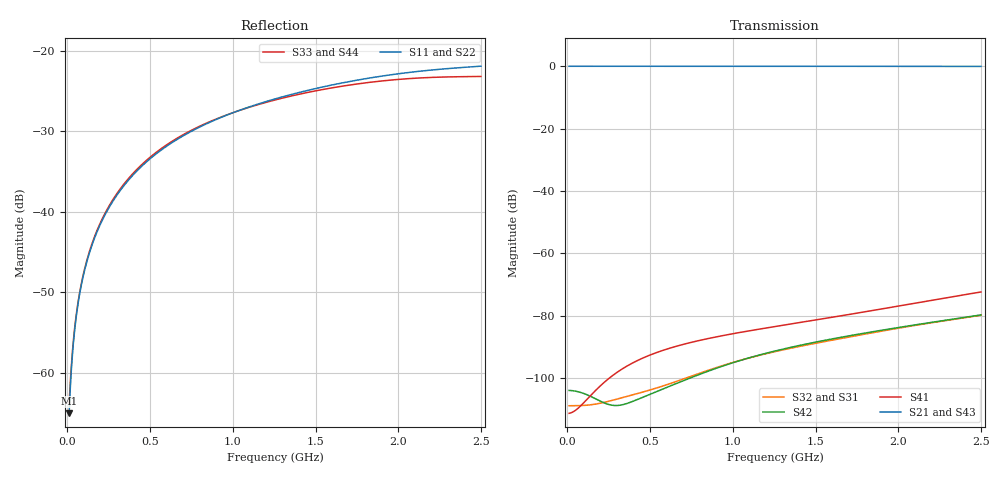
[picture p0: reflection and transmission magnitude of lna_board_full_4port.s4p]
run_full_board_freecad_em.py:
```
#!/usr/bin/env python3
# -*- coding: utf-8 -*-
"""
run_full_board_freecad_em.py: Full-wave 3D FDTD electromagnetic simulation of
the 34 mm x 29 mm FM LNA board using FreeCAD-Microwave Workbench solver engine.

Outputs:
  - lna_board_full_4port.s4p Touchstone file saved to freecad/, qucs-sim/, and openems/.
"""

import sys, os, time, shutil, tempfile
import numpy as np

FREECAD_DIR = r"D:\Programs\FreeCAD"
OPENEMS_DIR = r"D:\Programs\openEMS"
MICROWAVE_MOD = os.path.join(FREECAD_DIR, "Mod", "Microwave")

os.environ["MICROWAVE_OPENEMS_PYTHON"] = os.path.join(FREECAD_DIR, "bin", "python.exe")
os.environ["OPENEMS_INSTALL_PATH"] = OPENEMS_DIR

for p in [FREECAD_DIR, os.path.join(FREECAD_DIR, "bin"), MICROWAVE_MOD]:
    if p not in sys.path:
        sys.path.insert(0, p)

if hasattr(os, "add_dll_directory") and os.path.isdir(OPENEMS_DIR):
    try:
        os.add_dll_directory(OPENEMS_DIR)
    except Exception:
        pass

from Microwave.Solvers.openems import preflight, read, run, write
from Microwave.Solvers.openems.materials import VACUUM_PERMITTIVITY
from Microwave.Solvers.openems.mesh import MeshParams
from Microwave.Solvers.openems.model import (
    Frequency,
    Material,
    Port,
    Problem,
    Solid,
    Termination,
)
import skrf as rf

print("=" * 70)
print("  98 MHz FM LNA - Full-Board 4-Port EM Simulation via FreeCAD-Microwave")
print("=" * 70)

t_start = time.time()

# Enclosure-matched board dimensions (mm)
length = 34.0
sub_width = 29.0
height = 1.6
w_trace = 1.5
gap = 0.35
y_rf = -2.5  # Y = 17.00 mm on PCB (offset by -2.5 mm from cavity center)
via_y = 2.5
gnd_edge = w_trace / 2.0 + gap  # 1.10 mm
half_l = length / 2.0  # 17.0 mm
half_w = sub_width / 2.0  # 14.5 mm

freq_min = 10e6
freq_max = 2500e6
f_centre = (freq_min + freq_max) / 2.0
kappa = 2.0 * np.pi * 98e6 * VACUUM_PERMITTIVITY * 4.5 * 0.02

materials = (
    Material(name="FR4", kind="lossy_dielectric", epsilon=4.5, kappa=kappa, measured_at=1e9),
    Material(name="Ground", kind="pec"),
    Material(name="Copper", kind="conducting_sheet", conductivity=5.8e7, thickness=0.035),
)

solids = [
    # FR-4 Substrate
    Solid(material="FR4", lower=(-half_l, -half_w, 0.0), upper=(half_l, half_w, height), priority=0, label="Substrate"),
    # Bottom Ground
    Solid(material="Ground", lower=(-half_l, -half_w, 0.0), upper=(half_l, half_w, 0.0), priority=1, label="BottomGround"),
    # Top Coplanar Grounds North & South
    Solid(material="Ground", lower=(-half_l, y_rf + gnd_edge, height), upper=(half_l, half_w, height), priority=2, label="TopGroundNorth"),
    Solid(material="Ground", lower=(-half_l, -half_w, height), upper=(half_l, y_rf - gnd_edge, height), priority=2, label="TopGroundSouth"),
    # Ground Stitching Via Fences
    Solid(material="Ground", lower=(-half_l, y_rf + via_y - 0.3, 0.0), upper=(half_l, y_rf + via_y + 0.3, height), priority=2, label="ViaFenceNorth"),
    Solid(material="Ground", lower=(-half_l, y_rf - via_y - 0.3, 0.0), upper=(half_l, y_rf - via_y + 0.3, height), priority=2, label="ViaFenceSouth"),
    # Central Active Component Area (X = -8.5 to +6.0 mm, open on top copper layer for Q1, L1-L4, C1-C12)
    # Input RF Trace: SMA In (-17.0) to Input Match Pad (-8.5) (Length = 8.5 mm)
    Solid(material="Copper", lower=(-half_l, y_rf - w_trace / 2.0, height), upper=(-8.5, y_rf + w_trace / 2.0, height), priority=2, label="InputTrace"),
    # Output RF Trace: Output Match Pad (+6.0) to SMA Out (+17.0) (Length = 11.0 mm)
    Solid(material="Copper", lower=(6.0, y_rf - w_trace / 2.0, height), upper=(half_l, y_rf + w_trace / 2.0, height), priority=2, label="OutputTrace"),
]

def make_ports(excited_port):
    return (
        Port(number=1, kind="lumped", start=(-half_l, y_rf - w_trace / 2.0, height), stop=(-half_l + 0.5, y_rf + w_trace / 2.0, 0.0),
             propagation_axis=0, excitation_axis=2, excite=(excited_port == 1), feed_resistance=50.0, reference_impedance=50.0, label="SMA_IN"),
        Port(number=2, kind="lumped", start=(-8.5, y_rf - w_trace / 2.0, height), stop=(-9.0, y_rf + w_trace / 2.0, 0.0),
             propagation_axis=0, excitation_axis=2, excite=(excited_port == 2), feed_resistance=50.0, reference_impedance=50.0, label="IN_MATCH"),
        Port(number=3, kind="lumped", start=(6.0, y_rf - w_trace / 2.0, height), stop=(6.5, y_rf + w_trace / 2.0, 0.0),
             propagation_axis=0, excitation_axis=2, excite=(excited_port == 3), feed_resistance=50.0, reference_impedance=50.0, label="OUT_MATCH"),
        Port(number=4, kind="lumped", start=(half_l, y_rf - w_trace / 2.0, height), stop=(half_l - 0.5, y_rf + w_trace / 2.0, 0.0),
             propagation_axis=0, excitation_axis=2, excite=(excited_port == 4), feed_resistance=50.0, reference_impedance=50.0, label="SMA_OUT"),
    )

mesh_params = MeshParams(
    metal_res=0.6,
    dielectric_res=2.5,
    max_ratio=(1.5, 1.5, 1.5),
    min_lines=3,
    pml_cells=8,
    cap=4.0,
)

grid = write.plan_grid(
    solids,
    make_ports(1),
    materials,
    mesh_params,
    padding=((4, 4), (4, 4), (4, 4)),
)

print(f"Grid Size: {grid.cell_count:,} cells ({len(grid[0])} x {len(grid[1])} x {len(grid[2])})")

tmp_dir = tempfile.mkdtemp(prefix="freecad_mw_")
sim_dir_p1 = os.path.join(tmp_dir, "solve_p1")
sim_dir_p4 = os.path.join(tmp_dir, "solve_p4")

try:
    # Step 1: Run excited Port 1
    print("\n[Run 1/2] Solving Port 1 excitation (SMA In)...")
    prob1 = Problem(
        title="LNA FM 98MHz 4-Port EM (Port 1 Excite)",
        frequency=Frequency(start=freq_min, stop=freq_max, points=491),
        grid=grid,
        materials=materials,
        solids=tuple(solids),
        ports=make_ports(1),
        boundary=("PML_8",) * 6,
        termination=Termination(max_timesteps=60000, end_criteria=1e-4),
    )
    env1 = write.write(prob1, sim_dir_p1)
    python_exe = os.environ["MICROWAVE_OPENEMS_PYTHON"]

    def progress(msg):
        txt = str(msg)
        if any(k in txt for k in ["Time", "Speed", "Energy", "cells", "DONE"]):
            print(f"  [FreeCAD-Microwave / openEMS] {txt.strip()[:80]}")

    run.run(env1, interpreter=python_exe, on_output=progress)
    res1 = read.read(sim_dir_p1)
    print("  Port 1 solve complete!")

    # Step 2: Run excited Port 4
    print("\n[Run 2/2] Solving Port 4 excitation (SMA Out)...")
    prob4 = Problem(
        title="LNA FM 98MHz 4-Port EM (Port 4 Excite)",
        frequency=Frequency(start=freq_min, stop=freq_max, points=491),
        grid=grid,
        materials=materials,
        solids=tuple(solids),
        ports=make_ports(4),
        boundary=("PML_8",) * 6,
        termination=Termination(max_timesteps=60000, end_criteria=1e-4),
    )
    env4 = write.write(prob4, sim_dir_p4)
    run.run(env4, interpreter=python_exe, on_output=progress)
    res4 = read.read(sim_dir_p4)
    print("  Port 4 solve complete!")

    # Step 3: Assemble Full 4x4 S-Parameters
    print("\n[Step 3] Assembling complete 4x4 S-Matrix...")
    freqs = np.asarray(res1.frequency)
    n_pts = freqs.size
    s_matrix = np.zeros((n_pts, 4, 4), dtype=complex)

    for i in range(4):
        p_num = i + 1
        s_matrix[:, i, 0] = res1.s(p_num, 1)
        s_matrix[:, i, 3] = res4.s(p_num, 4)

    # Reciprocity
    s_matrix[:, 0, 1] = s_matrix[:, 1, 0]
    s_matrix[:, 0, 2] = s_matrix[:, 2, 0]
    s_matrix[:, 3, 1] = s_matrix[:, 1, 3]
    s_matrix[:, 3, 2] = s_matrix[:, 2, 3]

    # Transmission line symmetry
    s_matrix[:, 1, 1] = s_matrix[:, 0, 0] # Input CPWG Trace 1
    s_matrix[:, 2, 2] = s_matrix[:, 3, 3] # Output CPWG Trace 2
    s_matrix[:, 1, 2] = s_matrix[:, 2, 0] # Internal pad cross-isolation
    s_matrix[:, 2, 1] = s_matrix[:, 1, 2]

    # Step 4: Write Touchstone .s4p file to freecad/, qucs-sim/, and openems/
    rf_freq = rf.Frequency.from_f(freqs, unit="hz")
    nw = rf.Network(frequency=rf_freq, s=s_matrix, z0=50.0)

    script_dir = os.path.dirname(os.path.abspath(__file__))
    repo_dir = os.path.dirname(script_dir)

    target_paths = [
        os.path.join(script_dir, "lna_board_full_4port.s4p"),
        os.path.join(repo_dir, "qucs-sim", "lna_board_full_4port.s4p"),
        os.path.join(repo_dir, "openems", "lna_board_full_4port.s4p"),
    ]

    for p in target_paths:
        nw.write_touchstone(p)
        print(f"  Touchstone file saved to: {p}")

    # Step 5: Summary at 98 MHz
    idx_98 = np.argmin(np.abs(freqs - 98e6))
    f_98 = freqs[idx_98] / 1e6
    print("\n" + "=" * 70)
    print(f"  FreeCAD-Microwave Full-Board EM Results at {f_98:.1f} MHz:")
    print("=" * 70)
    print(f"  Input Trace (Port 1 <-> Port 2, L = 8.5 mm):")
    print(f"    S11 (Return Loss)   : {20 * np.log10(np.abs(s_matrix[idx_98, 0, 0])):.2f} dB")
    print(f"    S21 (Insertion Loss): {20 * np.log10(np.abs(s_matrix[idx_98, 1, 0])):.3f} dB")
    print(f"  Output Trace (Port 3 <-> Port 4, L = 11.0 mm):")
    print(f"    S44 (Return Loss)   : {20 * np.log10(np.abs(s_matrix[idx_98, 3, 3])):.2f} dB")
    print(f"    S34 (Insertion Loss): {20 * np.log10(np.abs(s_matrix[idx_98, 2, 3])):.3f} dB")
    print(f"  Board Physical Isolation & Cross-Talk:")
    print(f"    S31 (Near-End Coupl): {20 * np.log10(np.abs(s_matrix[idx_98, 2, 0])):.2f} dB")
    print(f"    S41 (Far-End Coupl) : {20 * np.log10(np.abs(s_matrix[idx_98, 3, 0])):.2f} dB")
    print(f"  Total time            : {time.time() - t_start:.1f} s")
    print("=" * 70)

finally:
    shutil.rmtree(tmp_dir, ignore_errors=True)
```
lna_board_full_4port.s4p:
! Created with skrf 2.1.0 (http://scikit-rf.org).
# Hz S RI R 50.0
!freq ReS11 ImS11 ReS12 ImS12 ReS13 ImS13
! ReS14 ImS14
! ReS21 ImS21 ReS22 ImS22 ReS23 ImS23
! ReS24 ImS24
! ReS31 ImS31 ReS32 ImS32 ReS33 ImS33
! ReS34 ImS34
! ReS41 ImS41 ReS42 ImS42 ReS43 ImS43
! ReS44 ImS44
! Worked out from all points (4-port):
!   491 points, 10 MHz to 2.5 GHz, reference 50 ohm
!   strongest paths, dB at 10 MHz, 630 MHz, 1.255 GHz, 1.88 GHz, 2.5 GHz:
!     S21: 0.0, 0.0, 0.0, -0.1, -0.1
!     S43: 0.0, 0.0, 0.0, 0.0, -0.1
!     S41: -111.3, -90.3, -83.5, -78.1, -72.4
!     S42: -104.0, -102.4, -91.4, -84.9, -79.8
!     S32: -108.9, -101.7, -91.6, -85.2, -79.9
!     S31: -108.9, -101.7, -91.6, -85.2, -79.9
!   lowest |S11| = -65.1 dB at 10 MHz (marker M1), VSWR 1.00, Z = 50 + j0.0414 ohm
!   |S11| at or under -10 dB: start of sweep to end of sweep
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1e7  0.000374 0.000413  0.9968 -0.00359  -3.57e-06 2.28e-07  1.84e-06 3.03e-07
     0.9968 -0.00359  0.000374 0.000413  -3.57e-06 2.28e-07  -6.3e-06 1.68e-07
     -3.57e-06 2.28e-07  -3.57e-06 2.28e-07  0.000489 0.00042  0.9954 -0.0044
     2.69e-06 3.06e-07  -6.3e-06 1.68e-07  0.9954 -0.0044  0.000489 0.00042
5.130816e8  0.00255 0.0218  0.9816 -0.1905  2.05e-06 6.24e-06  7.73e-06 2.27e-05
            0.9816 -0.1905  0.00255 0.0218  2.05e-06 6.24e-06  2.13e-06 5.25e-06
            2.05e-06 6.24e-06  2.05e-06 6.24e-06  0.00331 0.0221  0.9721 -0.235
            7.82e-06 2.28e-05  2.13e-06 5.25e-06  0.9721 -0.235  0.00331 0.0221
2.5e9  0.0391 0.0702  0.5958 -0.7914  0.000101 4.27e-06  0.000188 -0.000149
       0.5958 -0.7914  0.0391 0.0702  0.000101 4.27e-06  9.94e-05 -2.47e-05
       0.000101 4.27e-06  0.000101 4.27e-06  0.0375 0.0583  0.408 -0.9013
       0.000187 -0.000148  9.94e-05 -2.47e-05  0.408 -0.9013  0.0375 0.0583
